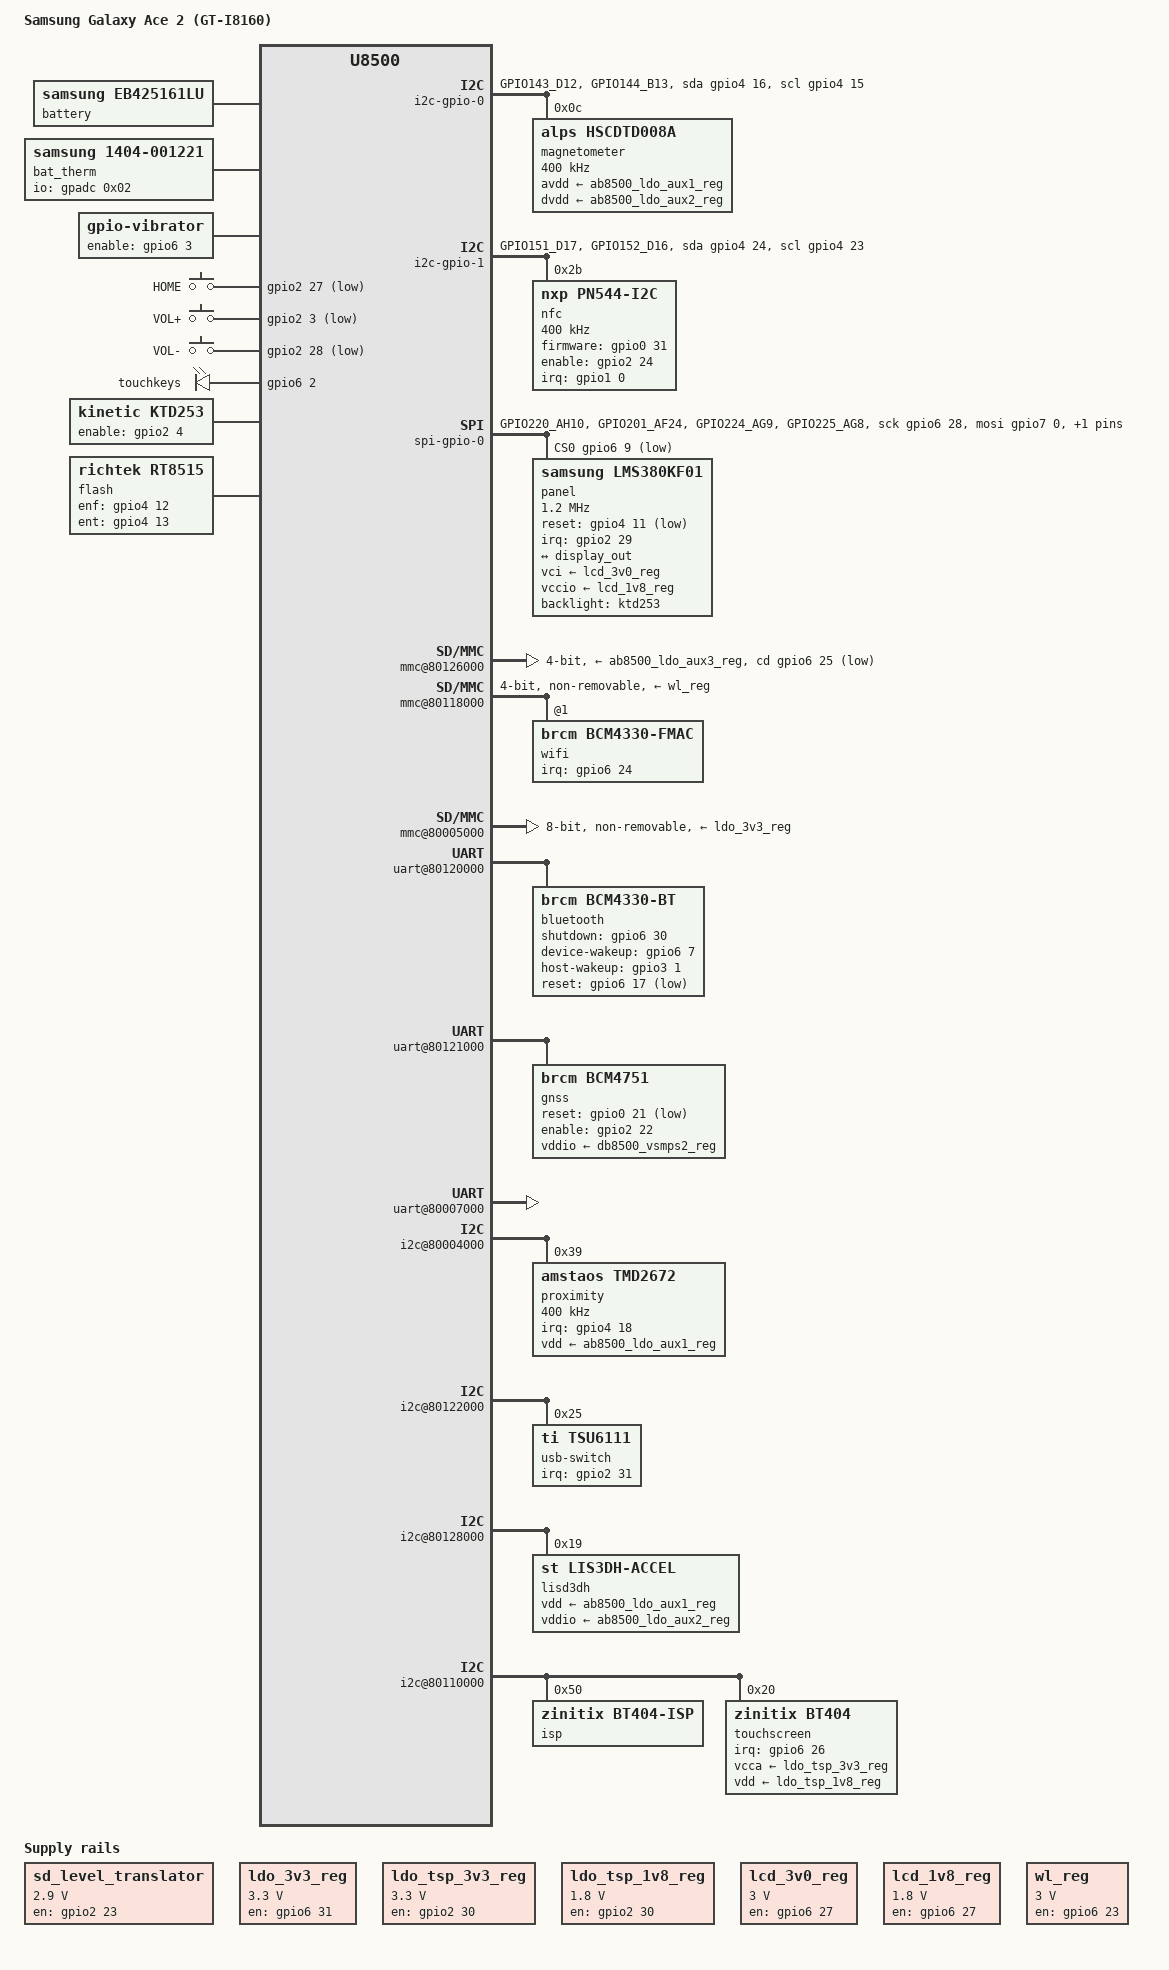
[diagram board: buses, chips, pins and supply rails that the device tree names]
// SPDX-License-Identifier: GPL-2.0-only
/*
 * Devicetree for the Samsung Galaxy Ace 2 GT-I8160 also known as Codina.
 *
 * NOTE: this is the most common variant according to the vendor tree, known
 * as "R0.0". There appears to be a "R0.4" variant with backlight on GPIO69,
 * AB8505 and other changes. There is also talk about some variants having a
 * Samsung S6D27A1 display, indicated by passing a different command line from
 * the boot loader.
 *
 * The Samsung tree further talks about GT-I8160P and GT-I8160chn (China).
 * The GT-I8160 plain is known as the "europe" variant.
 * The GT-I8160P is the CDMA version and it appears to not use the ST
 * Microelectronics accelerometer and reportedly has NFC mounted.
 * The GT-I8160chn appears to be the same as the europe variant.
 *
 * There is also the Codina-TMO, Samsung SGH-T599, which has its own device
 * tree.
 */

/dts-v1/;
#include "ste-db8500.dtsi"
#include "ste-ab8500.dtsi"
#include "ste-dbx5x0-pinctrl.dtsi"
#include <dt-bindings/gpio/gpio.h>
#include <dt-bindings/leds/common.h>
#include <dt-bindings/input/input.h>
#include <dt-bindings/interrupt-controller/irq.h>

/ {
	model = "Samsung Galaxy Ace 2 (GT-I8160)";
	compatible = "samsung,codina", "st-ericsson,u8500";

	cpus {
		cpu@300 {
			/*
			 * This has a frequency cap at ~800 MHz in the firmware.
			 * (Changing this number here will not overclock it.)
			 */
			operating-points = <798720 0
					    399360 0
					    199680 0>;
		};
	};

	chosen {
		stdout-path = &serial2;
	};

	battery: battery {
		compatible = "samsung,eb425161lu";
	};

	thermal-zones {
		battery-thermal {
			/* This zone will be polled by the battery temperature code */
			polling-delay = <0>;
			polling-delay-passive = <0>;
			thermal-sensors = <&bat_therm>;
		};
	};

	bat_therm: thermistor {
		compatible = "samsung,1404-001221";
		io-channels = <&gpadc 0x02>; /* BatTemp */
		pullup-uv = <1800000>;
		pullup-ohm = <230000>;
		pulldown-ohm = <0>;
		#thermal-sensor-cells = <0>;
	};

	/* TI TXS0206 level translator for 2.9 V */
	sd_level_translator: regulator-gpio {
		compatible = "regulator-fixed";

		/* GPIO87 EN */
		gpios = <&gpio2 23 GPIO_ACTIVE_HIGH>;
		enable-active-high;

		regulator-name = "sd-level-translator";
		regulator-min-microvolt = <2900000>;
		regulator-max-microvolt = <2900000>;
		regulator-type = "voltage";

		startup-delay-us = <200>;

		pinctrl-names = "default";
		pinctrl-0 = <&sd_level_translator_default>;
	};

	/* External LDO MIC5366-3.3YMT for eMMC */
	ldo_3v3_reg: regulator-gpio-ldo-3v3 {
		compatible = "regulator-fixed";
		/* Supplied in turn by VBAT */
		regulator-name = "VMEM_3V3";
		regulator-min-microvolt = <3300000>;
		regulator-max-microvolt = <3300000>;
		gpios = <&gpio6 31 GPIO_ACTIVE_HIGH>;
		startup-delay-us = <5000>;
		enable-active-high;
		pinctrl-names = "default";
		pinctrl-0 = <&emmc_ldo_en_default_mode>;
	};

	/*
	 * External Ricoh "TSP" regulator for the touchscreen.
	 * One GPIO line controls two voltages of 3.3V and 1.8V
	 * this line is known as "TSP_LDO_ON1" in the schematics.
	 */
	ldo_tsp_3v3_reg: regulator-gpio-tsp-ldo-3v3 {
		compatible = "regulator-fixed";
		/* Supplied in turn by VBAT */
		regulator-name = "LDO_TSP_A3V3";
		regulator-min-microvolt = <3300000>;
		regulator-max-microvolt = <3300000>;
		/* GPIO94 controls this regulator */
		gpio = <&gpio2 30 GPIO_ACTIVE_HIGH>;
		/* 70 ms power-on delay */
		startup-delay-us = <70000>;
		enable-active-high;
		pinctrl-names = "default";
		pinctrl-0 = <&tsp_ldo_en_default_mode>;
	};
	ldo_tsp_1v8_reg: regulator-gpio-tsp-ldo-1v8 {
		compatible = "regulator-fixed";
		/* Supplied in turn by VBAT */
		regulator-name = "VREG_TSP_1V8";
		regulator-min-microvolt = <1800000>;
		regulator-max-microvolt = <1800000>;
		/* GPIO94 controls this regulator */
		gpio = <&gpio2 30 GPIO_ACTIVE_HIGH>;
		/* 70 ms power-on delay */
		startup-delay-us = <70000>;
		enable-active-high;
		pinctrl-names = "default";
		pinctrl-0 = <&tsp_ldo_en_default_mode>;
	};

	/*
	 * External Ricoh RP152L010B-TR LCD LDO regulator for the display.
	 * LCD_PWR_EN controls both a 3.0V and 1.8V output.
	 */
	lcd_3v0_reg: regulator-gpio-lcd-3v0 {
		compatible = "regulator-fixed";
		/* Supplied in turn by VBAT */
		regulator-name = "VREG_LCD_3.0V";
		regulator-min-microvolt = <3000000>;
		regulator-max-microvolt = <3000000>;
		/* GPIO219 controls this regulator */
		gpio = <&gpio6 27 GPIO_ACTIVE_HIGH>;
		enable-active-high;
		pinctrl-names = "default";
		pinctrl-0 = <&lcd_pwr_en_default_mode>;
	};
	lcd_1v8_reg: regulator-gpio-lcd-1v8 {
		compatible = "regulator-fixed";
		/* Supplied in turn by VBAT */
		regulator-name = "VREG_LCD_1.8V";
		regulator-min-microvolt = <1800000>;
		regulator-max-microvolt = <1800000>;
		/* GPIO219 controls this regulator too */
		gpio = <&gpio6 27 GPIO_ACTIVE_HIGH>;
		enable-active-high;
		pinctrl-names = "default";
		pinctrl-0 = <&lcd_pwr_en_default_mode>;
	};

	/*
	 * This regulator is a GPIO line that drives the Broadcom WLAN
	 * line WL_REG_ON high and enables the internal regulators
	 * inside the chip. Unfortunatley it is erroneously named
	 * WLAN_RST_N on the schematic but it is not a reset line.
	 *
	 * The voltage specified here is only used to determine the OCR mask,
	 * the for the SDIO connector, the chip is actually connected
	 * directly to VBAT.
	 */
	wl_reg: regulator-gpio-wlan {
		compatible = "regulator-fixed";
		regulator-name = "WL_REG_ON";
		regulator-min-microvolt = <3000000>;
		regulator-max-microvolt = <3000000>;
		startup-delay-us = <100000>;
		/* GPIO215 (WLAN_RST_N to WL_REG_ON) */
		gpio = <&gpio6 23 GPIO_ACTIVE_HIGH>;
		enable-active-high;
		pinctrl-names = "default";
		pinctrl-0 = <&wlan_ldo_en_default>;
	};

	vibrator {
		compatible = "gpio-vibrator";
		/* GPIO195 "MOT_EN" */
		enable-gpios = <&gpio6 3 GPIO_ACTIVE_HIGH>;
		pinctrl-names = "default";
		pinctrl-0 = <&vibrator_default>;
	};

	gpio-keys {
		compatible = "gpio-keys";
		pinctrl-names = "default";
		pinctrl-0 = <&gpio_keys_default_mode>;

		button-home {
			linux,code = <KEY_HOME>;
			label = "HOME";
			/* GPIO91 */
			gpios = <&gpio2 27 GPIO_ACTIVE_LOW>;
		};
		button-volup {
			linux,code = <KEY_VOLUMEUP>;
			label = "VOL+";
			/* GPIO67 */
			gpios = <&gpio2 3 GPIO_ACTIVE_LOW>;
		};
		button-voldown {
			linux,code = <KEY_VOLUMEDOWN>;
			label = "VOL-";
			/* GPIO92 */
			gpios = <&gpio2 28 GPIO_ACTIVE_LOW>;
		};
	};

	gpio-leds {
		compatible = "gpio-leds";
		pinctrl-names = "default";
		pinctrl-0 = <&gpio_leds_default_mode>;
		touchkey-led {
			label = "touchkeys";
			/*
			 * GPIO194 on R0.0, R0.4 does not use this at all, it
			 * will instead turn LDO AUX4 on/off for key led backlighy.
			 * (Line is pulled down on R0.4)
			 */
			gpios = <&gpio6 2 GPIO_ACTIVE_HIGH>;
			default-state = "on";
		};
	};

	ktd253: backlight {
		compatible = "kinetic,ktd253";
		/*
		 * GPIO68 is for R0.0, the board file talks about a TMO variant
		 * (R0.4) using GPIO69.
		 */
		enable-gpios = <&gpio2 4 GPIO_ACTIVE_HIGH>;
		/* Default to 13/32 brightness */
		default-brightness = <13>;
		pinctrl-names = "default";
		pinctrl-0 = <&ktd253_backlight_default_mode>;
	};

	/* Richtek RT8515GQW Flash LED Driver IC */
	flash {
		compatible = "richtek,rt8515";
		/* GPIO 140 */
		enf-gpios = <&gpio4 12 GPIO_ACTIVE_HIGH>;
		/* GPIO 141 */
		ent-gpios = <&gpio4 13 GPIO_ACTIVE_HIGH>;
		/*
		 * RFS is 16 kOhm and RTS is 100 kOhm giving
		 * the flash max current 343mA and torch max
		 * current 55 mA.
		 */
		richtek,rfs-ohms = <16000>;
		richtek,rts-ohms = <100000>;
		pinctrl-names = "default";
		pinctrl-0 = <&gpio_flash_default_mode>;

		led {
			function = LED_FUNCTION_FLASH;
			color = <LED_COLOR_ID_WHITE>;
			flash-max-timeout-us = <250000>;
			flash-max-microamp = <343750>;
			led-max-microamp = <55000>;
		};
	};

	/* Bit-banged I2C on GPIO143 and GPIO144 also called "SUBPMU I2C" */
	i2c-gpio-0 {
		compatible = "i2c-gpio";
		sda-gpios = <&gpio4 16 (GPIO_ACTIVE_HIGH|GPIO_OPEN_DRAIN)>;
		scl-gpios = <&gpio4 15 (GPIO_ACTIVE_HIGH|GPIO_OPEN_DRAIN)>;
		pinctrl-names = "default";
		pinctrl-0 = <&i2c_gpio_0_default>;
		#address-cells = <1>;
		#size-cells = <0>;

		magnetometer@c {
			compatible = "alps,hscdtd008a";
			reg = <0x0c>;
			clock-frequency = <400000>;

			avdd-supply = <&ab8500_ldo_aux1_reg>; // 3V
			dvdd-supply = <&ab8500_ldo_aux2_reg>; // 1.8V
		};
		/* TODO: this should also be used by the SM5103 Camera power management unit */
	};

	/* Bit-banged I2C on GPIO151 and GPIO152 also called "NFC I2C" */
	i2c-gpio-1 {
		compatible = "i2c-gpio";
		sda-gpios = <&gpio4 24 (GPIO_ACTIVE_HIGH|GPIO_OPEN_DRAIN)>;
		scl-gpios = <&gpio4 23 (GPIO_ACTIVE_HIGH|GPIO_OPEN_DRAIN)>;
		pinctrl-names = "default";
		pinctrl-0 = <&i2c_gpio_1_default>;
		#address-cells = <1>;
		#size-cells = <0>;

		nfc@2b {
			/* NXP NFC circuit PN544 C1 marked NXP 44501  */
			compatible = "nxp,pn544-i2c";
			/* IF0, IF1 high, gives I2C address 0x2B */
			reg = <0x2b>;
			clock-frequency = <400000>;
			/* NFC IRQ on GPIO32 */
			interrupt-parent = <&gpio1>;
			interrupts = <0 IRQ_TYPE_EDGE_FALLING>;
			/* GPIO 31 */
			firmware-gpios = <&gpio0 31 GPIO_ACTIVE_HIGH>;
			/* GPIO88 */
			enable-gpios = <&gpio2 24 GPIO_ACTIVE_HIGH>;
			pinctrl-names = "default";
			pinctrl-0 = <&pn544_codina_default>;
		};
	};

	spi-gpio-0 {
		compatible = "spi-gpio";
		/* Clock on GPIO220, pin SCL */
		sck-gpios = <&gpio6 28 GPIO_ACTIVE_HIGH>;
		/* MOSI on GPIO224, pin SDI "slave data in" */
		mosi-gpios = <&gpio7 0 GPIO_ACTIVE_HIGH>;
		/* MISO on GPIO225, pin SDO "slave data out" */
		miso-gpios = <&gpio7 1 GPIO_ACTIVE_HIGH>;
		/* Chip select on GPIO201 */
		cs-gpios = <&gpio6 9 GPIO_ACTIVE_LOW>;
		num-chipselects = <1>;

		pinctrl-names = "default";
		pinctrl-0 = <&spi_gpio_0_default>;
		#address-cells = <1>;
		#size-cells = <0>;

		/*
		 * Some Codinas (90%) have a WideChips WS2401-based LMS380KF01
		 * display mounted and some 10% has a Samsung S6D27A1 instead.
		 * The boot loader needs to modify this compatible to
		 * correspond to whatever is passed from the early Samsung boot.
		 */
		panel@0 {
			compatible = "samsung,lms380kf01";
			spi-max-frequency = <1200000>;
			/* TYPE 3: inverse clock polarity and phase */
			spi-cpha;
			spi-cpol;

			reg = <0>;
			vci-supply = <&lcd_3v0_reg>;
			vccio-supply = <&lcd_1v8_reg>;

			/* Reset on GPIO139 */
			reset-gpios = <&gpio4 11 GPIO_ACTIVE_LOW>;
			/* LCD_VGH/LCD_DETECT, ESD IRQ on GPIO93 */
			interrupt-parent = <&gpio2>;
			interrupts = <29 IRQ_TYPE_EDGE_RISING>;

			pinctrl-names = "default";
			pinctrl-0 = <&panel_default_mode>;
			backlight = <&ktd253>;

			port {
				panel_in: endpoint {
					remote-endpoint = <&display_out>;
				};
			};
		};
	};

	soc {
		/* External Micro SD slot */
		mmc@80126000 {
			arm,primecell-periphid = <0x10480180>;
			max-frequency = <100000000>;
			bus-width = <4>;
			cap-sd-highspeed;
			cap-mmc-highspeed;
			st,sig-pin-fbclk;
			full-pwr-cycle;
			/* MMC is powered by AUX3 1.2V .. 2.91V */
			vmmc-supply = <&ab8500_ldo_aux3_reg>;
			/* 2.9 V level translator is using AUX3 at 2.9 V as well */
			vqmmc-supply = <&sd_level_translator>;
			pinctrl-names = "default", "sleep";
			pinctrl-0 = <&mc0_a_2_default>;
			pinctrl-1 = <&mc0_a_2_sleep>;
			cd-gpios  = <&gpio6 25 GPIO_ACTIVE_LOW>; // GPIO217
			status = "okay";
		};

		/* WLAN SDIO channel */
		mmc@80118000 {
			arm,primecell-periphid = <0x10480180>;
			max-frequency = <50000000>;
			bus-width = <4>;
			non-removable;
			cap-sd-highspeed;
			pinctrl-names = "default", "sleep";
			pinctrl-0 = <&mc1_a_2_default>;
			pinctrl-1 = <&mc1_a_2_sleep>;
			/*
			 * GPIO-controlled voltage enablement: this drives
			 * the WL_REG_ON line high when we use this device.
			 * Represented as regulator to fill OCR mask.
			 */
			vmmc-supply = <&wl_reg>;

			#address-cells = <1>;
			#size-cells = <0>;
			status = "okay";

			wifi@1 {
				/* Actually BRCM4330 */
				compatible = "brcm,bcm4330-fmac", "brcm,bcm4329-fmac";
				reg = <1>;
				/* GPIO216 WL_HOST_WAKE */
				interrupt-parent = <&gpio6>;
				interrupts = <24 IRQ_TYPE_EDGE_FALLING>;
				interrupt-names = "host-wake";
				pinctrl-names = "default";
				pinctrl-0 = <&wlan_default_mode>;
			};
		};

		/* eMMC */
		mmc@80005000 {
			arm,primecell-periphid = <0x10480180>;
			max-frequency = <100000000>;
			bus-width = <8>;
			non-removable;
			cap-mmc-highspeed;
			mmc-ddr-1_8v;
			no-sdio;
			no-sd;
			vmmc-supply = <&ldo_3v3_reg>;
			pinctrl-names = "default", "sleep";
			/*
			 * GPIO130 will be set to input no pull-up resulting in a resistor
			 * pulling the reset high and taking the memory out of reset.
			 */
			pinctrl-0 = <&mc2_a_1_default>;
			pinctrl-1 = <&mc2_a_1_sleep>;
			status = "okay";
		};

		/* GBF (Bluetooth) UART */
		uart@80120000 {
			pinctrl-names = "default", "sleep";
			pinctrl-0 = <&u0_a_1_default>;
			pinctrl-1 = <&u0_a_1_sleep>;
			status = "okay";

			bluetooth {
				compatible = "brcm,bcm4330-bt";
				/* GPIO222 rail BT_VREG_EN to BT_REG_ON */
				shutdown-gpios = <&gpio6 30 GPIO_ACTIVE_HIGH>;
				/* BT_WAKE on GPIO199 */
				device-wakeup-gpios = <&gpio6 7 GPIO_ACTIVE_HIGH>;
				/* BT_HOST_WAKE on GPIO97 */
				/* FIXME: convert to interrupt */
				host-wakeup-gpios = <&gpio3 1 GPIO_ACTIVE_HIGH>;
				/* BT_RST_N on GPIO209 */
				reset-gpios = <&gpio6 17 GPIO_ACTIVE_LOW>;
				pinctrl-names = "default";
				pinctrl-0 = <&bluetooth_default_mode>;
			};
		};

		/* GPS UART */
		uart@80121000 {
			status = "okay";
			pinctrl-names = "default", "sleep";
			pinctrl-0 = <&u1rxtx_a_1_default &u1ctsrts_a_1_default>;
			pinctrl-1 = <&u1rxtx_a_1_sleep &u1ctsrts_a_1_sleep>;

			gnss {
				compatible = "brcm,bcm4751";
				/* GPS_RSTN on GPIO21 */
				reset-gpios = <&gpio0 21 GPIO_ACTIVE_LOW>;
				/* GPS_ON_OFF on GPIO86 */
				enable-gpios = <&gpio2 22 GPIO_ACTIVE_HIGH>;
				/* GPS_1V8 (VSMPS2) */
				vddio-supply = <&db8500_vsmps2_reg>;
				pinctrl-names = "default";
				pinctrl-0 = <&bcm4751_codina_default>;
			};
		};

		/* Debugging console UART connected to TSU6111RSVR (FSA880) */
		uart@80007000 {
			status = "okay";
			pinctrl-names = "default", "sleep";
			pinctrl-0 = <&u2rxtx_c_1_default>;
			pinctrl-1 = <&u2rxtx_c_1_sleep>;
		};

		prcmu@80157000 {
			ab8500 {
				phy {
					pinctrl-names = "default", "sleep";
					pinctrl-0 = <&usb_a_1_default>;
					pinctrl-1 = <&usb_a_1_sleep>;
				};

				ab8500_fg {
					line-impedance-micro-ohms = <36000>;
				};

				regulator {
					ab8500_ldo_aux1 {
						/* Used for VDD for sensors */
						regulator-name = "V-SENSORS-VDD";
						regulator-min-microvolt = <3000000>;
						regulator-max-microvolt = <3000000>;
					};

					ab8500_ldo_aux2 {
						/* Used for VIO for sensors */
						regulator-name = "V-SENSORS-VIO";
						regulator-min-microvolt = <1800000>;
						regulator-max-microvolt = <1800000>;
					};

					ab8500_ldo_aux3 {
						/* Used for voltage for external MMC/SD card */
						regulator-name = "V-MMC-SD";
						regulator-min-microvolt = <1200000>;
						regulator-max-microvolt = <2910000>;
					};
				};
			};
		};

		/* I2C0 also known as "AGC I2C" */
		i2c@80004000 {
			status = "okay";
			pinctrl-names = "default", "sleep";
			pinctrl-0 = <&i2c0_a_1_default>;
			pinctrl-1 = <&i2c0_a_1_sleep>;

			proximity@39 {
				/* Codina has the Amstaos TMD2672 */
				compatible = "amstaos,tmd2672";
				clock-frequency = <400000>;
				reg = <0x39>;

				/* IRQ on GPIO146 "PS_INT" */
				interrupt-parent = <&gpio4>;
				interrupts = <18 IRQ_TYPE_EDGE_FALLING>;
				/* FIXME: needs a VDDIO supply that is connected to a pull-up resistor */
				vdd-supply = <&ab8500_ldo_aux1_reg>;
				pinctrl-names = "default";
				pinctrl-0 = <&tms2672_codina_default>;
			};
		};

		/* I2C1 on GPIO16 and GPIO17 also called "MUS I2C" */
		i2c@80122000 {
			status = "okay";
			pinctrl-names = "default","sleep";
			/* FIXME: If it doesn't work try what we use on Gavini */
			pinctrl-0 = <&i2c1_b_2_default>;
			pinctrl-1 = <&i2c1_b_2_sleep>;

			/* Texas Instruments TSU6111 micro USB switch */
			usb-switch@25 {
				compatible = "ti,tsu6111";
				reg = <0x25>;
				/* Interrupt JACK_INT_N on GPIO95 */
				interrupt-parent = <&gpio2>;
				interrupts = <31 IRQ_TYPE_EDGE_FALLING>;
				pinctrl-names = "default";
				pinctrl-0 = <&tsu6111_codina_default>;
			};
		};

		/* I2C2 on GPIO10 and GPIO11 also called "SENSORS I2C" */
		i2c@80128000 {
			status = "okay";
			pinctrl-names = "default", "sleep";
			pinctrl-0 = <&i2c2_b_2_default>;
			pinctrl-1 = <&i2c2_b_2_sleep>;

			lisd3dh@19 {
				/* ST Microelectronics Accelerometer */
				compatible = "st,lis3dh-accel";
				st,drdy-int-pin = <1>;
				reg = <0x19>;
				vdd-supply = <&ab8500_ldo_aux1_reg>; // 3V
				vddio-supply = <&ab8500_ldo_aux2_reg>; // 1.8V
				mount-matrix = "0", "1", "0",
					       "-1", "0", "0",
					       "0", "0", "1";
			};
		};

		/* I2C3 */
		i2c@80110000 {
			status = "okay";

			pinctrl-names = "default", "sleep";
			pinctrl-0 = <&i2c3_c_2_default>;
			pinctrl-1 = <&i2c3_c_2_sleep>;

			/* TODO: write bindings and driver for this touchscreen */

			/* Zinitix BT404 ISP part */
			isp@50 {
				compatible = "zinitix,bt404-isp";
				reg = <0x50>;
				pinctrl-names = "default";
				pinctrl-0 = <&tsp_default>;
			};

			/* Zinitix BT404 touchscreen, also has the touchkeys for menu and back */
			touchscreen@20 {
				compatible = "zinitix,bt404";
				reg = <0x20>;
				/* GPIO218 (TSP_INT_1V8) */
				interrupt-parent = <&gpio6>;
				interrupts = <26 IRQ_TYPE_EDGE_FALLING>;
				vcca-supply = <&ldo_tsp_3v3_reg>;
				vdd-supply = <&ldo_tsp_1v8_reg>;
				zinitix,mode = <2>;
				touchscreen-size-x = <480>;
				touchscreen-size-y = <800>;
				pinctrl-names = "default";
				pinctrl-0 = <&tsp_default>;
			};
		};

		mcde@a0350000 {
			status = "okay";
			pinctrl-names = "default";
			pinctrl-0 = <&dpi_default_mode>;

			port {
				display_out: endpoint {
					remote-endpoint = <&panel_in>;
				};
			};
		};
	};
};

&pinctrl {
	/*
	 * This extends the MC0_A_2 default config to include
	 * the card detect GPIO217 line.
	 */
	sdi0 {
		mc0_a_2_default {
			default_cfg4 {
				pins = "GPIO217_AH12"; /* card detect */
				ste,config = <&gpio_in_pd>;
			};
		};
	};
	sdi2 {
		/*
		 * This will make the resistor mounted in R0.0 pull up
		 * the reset line and take the eMMC out of reset. On
		 * R0.4 variants, GPIO130 should be set in GPIO mode and
		 * pulled down. (Not connected.)
		 */
		mc2_a_1_default {
			default_cfg2 {
				pins = "GPIO130_C8"; /* FBCLK */
				ste,config = <&in_nopull>;
			};
		};
	};
	/* GPIO that enables the 2.9V SD card level translator */
	sd-level-translator {
		sd_level_translator_default: sd_level_translator_default {
			/* level shifter on GPIO87 */
			codina_cfg1 {
				pins = "GPIO87_B3";
				ste,config = <&gpio_out_hi>;
			};
		};
	};
	/* GPIO that enables the LDO regulator for the eMMC */
	emmc-ldo {
		emmc_ldo_en_default_mode: emmc_ldo_default {
			/* LDO enable on GPIO223 */
			codina_cfg1 {
				pins = "GPIO223_AH9";
				ste,config = <&gpio_out_hi>;
			};
		};
	};
	/* GPIOs for panel control */
	panel {
		panel_default_mode: panel_default {
			codina_cfg1 {
				/* Reset line */
				pins = "GPIO139_C9";
				ste,config = <&gpio_out_lo>;
			};
			codina_cfg2 {
				/* ESD IRQ line "LCD detect" */
				pins = "GPIO93_B7";
				ste,config = <&gpio_in_nopull>;
			};
		};
	};
	/* GPIO that enables the LDO regulator for the touchscreen */
	tsp-ldo {
		tsp_ldo_en_default_mode: tsp_ldo_default {
			/* LDO enable on GPIO94 */
			gavini_cfg1 {
				pins = "GPIO94_D7";
				ste,config = <&gpio_out_hi>;
			};
		};
	};
	/* GPIO that enables the LDO regulator for the LCD display */
	lcd-ldo {
		lcd_pwr_en_default_mode: lcd_pwr_en_default {
			/* LCD_PWR_EN on GPIO219 */
			codina_cfg1 {
				pins = "GPIO219_AG10";
				ste,config = <&gpio_out_hi>;
			};
		};
	};
	/* GPIO that enables the LDO regulator for the key LED */
	key-led {
		gpio_leds_default_mode: en_led_ldo_default {
			/* EN_LED_LDO on GPIO194 */
			codina_cfg1 {
				pins = "GPIO194_AF27";
				ste,config = <&gpio_out_hi>;
			};
		};
	};
	/* GPIO that enables the WLAN internal LDO regulators */
	wlan-ldo {
		wlan_ldo_en_default: wlan_ldo_default {
			/* GPIO215 named WLAN_RST_N */
			codina_cfg1 {
				pins = "GPIO215_AH13";
				ste,config = <&gpio_out_lo>;
			};
		};
	};
	/* Backlight GPIO */
	backlight {
		ktd253_backlight_default_mode: backlight_default {
			skomer_cfg1 {
				pins = "GPIO68_E1"; /* LCD_BL_CTRL */
				ste,config = <&gpio_out_lo>;
			};
		};
	};
	/* Flash and torch */
	flash {
		gpio_flash_default_mode: flash_default {
			codina_cfg1 {
				pins = "GPIO140_B11", "GPIO141_C12";
				ste,config = <&gpio_out_lo>;
			};
		};
	};
	/* GPIO keys */
	gpio-keys {
		gpio_keys_default_mode: gpio_keys_default {
			skomer_cfg1 {
				pins = "GPIO67_G2", /* VOL UP */
				       "GPIO91_B6", /* HOME */
				       "GPIO92_D6"; /* VOL DOWN */
				ste,config = <&gpio_in_pu>;
			};
		};
	};
	/* Interrupt line for the Zinitix BT404 touchscreen */
	tsp {
		tsp_default: tsp_default {
			codina_cfg1 {
				pins = "GPIO218_AH11";	/* TSP_INT_1V8 */
				ste,config = <&gpio_in_nopull>;
			};
		};
	};
	/* Interrupt line for light/proximity sensor TMS2672 */
	tms2672 {
		tms2672_codina_default: tms2672_codina {
			codina_cfg1 {
				pins = "GPIO146_D13";
				ste,config = <&gpio_in_nopull>;
			};
		};
	};
	/* GPIO-based I2C bus for subpmu */
	i2c-gpio-0 {
		i2c_gpio_0_default: i2c_gpio_0 {
			codina_cfg1 {
				pins = "GPIO143_D12", "GPIO144_B13";
				ste,config = <&gpio_in_nopull>;
			};
		};
	};
	/* GPIO-based I2C bus for the NFC */
	i2c-gpio-1 {
		i2c_gpio_1_default: i2c_gpio_1 {
			codina_cfg1 {
				pins = "GPIO151_D17", "GPIO152_D16";
				ste,config = <&gpio_in_nopull>;
			};
		};
	};
	/* GPIO-based SPI bus for the display */
	spi-gpio-0 {
		spi_gpio_0_default: spi_gpio_0_d {
			codina_cfg1 {
				pins = "GPIO220_AH10", "GPIO201_AF24", "GPIO224_AG9";
				ste,config = <&gpio_out_hi>;
			};
			codina_cfg2 {
				pins = "GPIO225_AG8";
				/* Needs pull down, no pull down resistor on board */
				ste,config = <&gpio_in_pd>;
			};
		};
		spi_gpio_0_sleep: spi_gpio_0_s {
			codina_cfg1 {
				pins = "GPIO220_AH10", "GPIO201_AF24",
				       "GPIO224_AG9", "GPIO225_AG8";
				ste,config = <&gpio_out_hi>;
			};
		};
	};
	wlan {
		wlan_default_mode: wlan_default {
			/* GPIO216 for WL_HOST_WAKE */
			codina_cfg2 {
				pins = "GPIO216_AG12";
				ste,config = <&gpio_in_pd>;
			};
		};
	};
	bluetooth {
		bluetooth_default_mode: bluetooth_default {
			/* GPIO199 BT_WAKE and GPIO222 BT_VREG_ON */
			codina_cfg1 {
				pins = "GPIO199_AH23", "GPIO222_AJ9";
				ste,config = <&gpio_out_lo>;
			};
			/* GPIO97 BT_HOST_WAKE */
			codina_cfg2 {
				pins = "GPIO97_D9";
				ste,config = <&gpio_in_nopull>;
			};
			/* GPIO209 BT_RST_N */
			codina_cfg3 {
				pins = "GPIO209_AG15";
				ste,config = <&gpio_out_hi>;
			};
		};
	};
	/* Interrupt line for TI TSU6111 Micro USB switch */
	tsu6111 {
		tsu6111_codina_default: tsu6111_codina {
			codina_cfg1 {
				/* GPIO95 used for IRQ */
				pins = "GPIO95_E8";
				ste,config = <&gpio_in_nopull>;
			};
		};
	};
	nfc {
		pn544_codina_default: pn544_codina {
			/* Interrupt line */
			codina_cfg1 {
				pins = "GPIO32_V2";
				ste,config = <&gpio_in_nopull>;
			};
			/* Enable and firmware GPIOs */
			codina_cfg2 {
				pins = "GPIO31_V3", "GPIO88_C4";
				ste,config = <&gpio_out_lo>;
			};
		};
	};
	bcm4751 {
		bcm4751_codina_default: bcm4751_codina {
			/* Reset line, start out asserted */
			codina_cfg1 {
				pins = "GPIO21_AB3";
				ste,config = <&gpio_out_lo>;
			};
			/* GPS_ON_OFF, start out deasserted (off) */
			codina_cfg2 {
				pins = "GPIO86_C6";
				ste,config = <&gpio_out_lo>;
			};
		};
	};
	vibrator {
		vibrator_default: vibrator_default {
			codina_cfg1 {
				pins = "GPIO195_AG28";	/* MOT_EN */
				ste,config = <&gpio_out_lo>;
			};
		};
	};
	mcde {
		dpi_default_mode: dpi_default {
			default_mux1 {
				/* Mux in all the data lines */
				function = "lcd";
				groups =
					/* Data lines D0-D7 GPIO70..GPIO77 */
					"lcd_d0_d7_a_1",
					/* Data lines D8-D11 GPIO78..GPIO81 */
					"lcd_d8_d11_a_1",
					/* Data lines D12-D15 GPIO82..GPIO85 */
					"lcd_d12_d15_a_1",
					/* Data lines D16-D23 GPIO161..GPIO168 */
					"lcd_d16_d23_b_1";
			};
			default_mux2 {
				function = "lcda";
				/* Clock line on GPIO150, DE, VSO, HSO on GPIO169..GPIO171 */
				groups = "lcdaclk_b_1", "lcda_b_1";
			};
			/* Input, no pull-up is the default state for pins used for an alt function */
			default_cfg1 {
				pins = "GPIO150_C14", "GPIO169_D22", "GPIO170_C23", "GPIO171_D23";
				ste,config = <&in_nopull>;
			};
		};
	};
};
